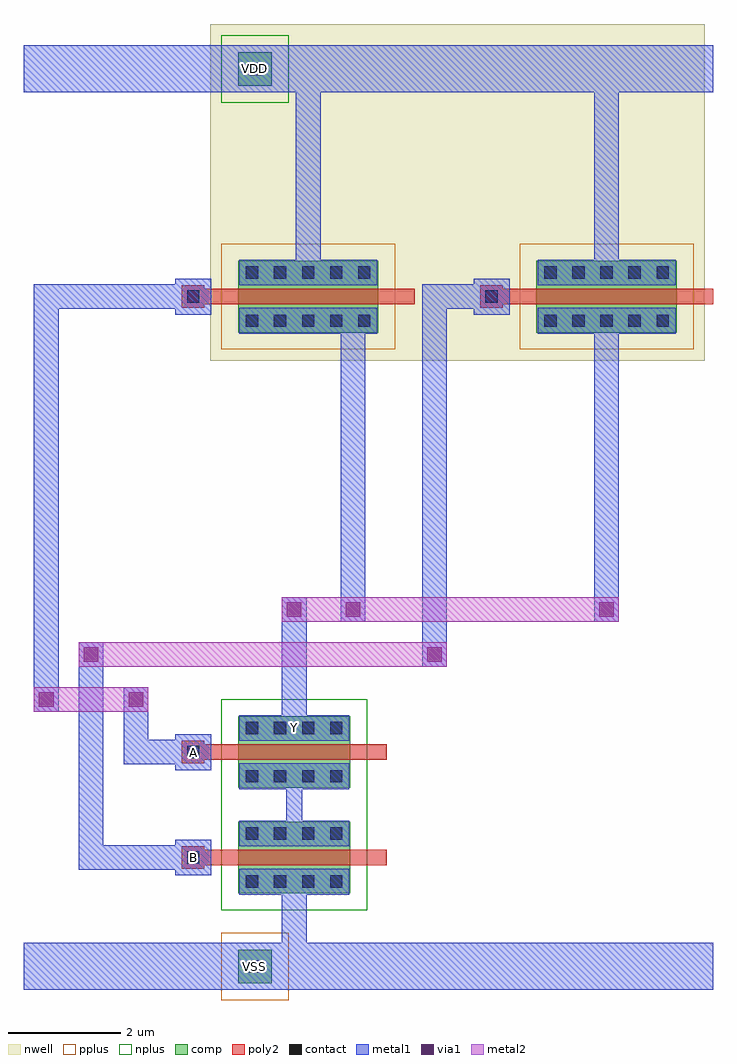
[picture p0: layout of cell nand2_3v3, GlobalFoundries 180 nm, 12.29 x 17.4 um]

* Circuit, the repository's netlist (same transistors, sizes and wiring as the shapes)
* Extracted by KLayout with GF180MCU LVS runset on : 09/09/2026 01:18

.SUBCKT nand2_3v3 VSS B A Y VDD
M$1 VDD B Y VDD pfet_03v3 L=0.28U W=2.5U AS=1.25P AD=1.25P PS=6U PD=6U
M$2 VDD A Y VDD pfet_03v3 L=0.28U W=2.5U AS=1.25P AD=1.25P PS=6U PD=6U
M$3 Y A \$4 VSS nfet_03v3 L=0.28U W=2U AS=1P AD=1P PS=5U PD=5U
M$4 \$4 B VSS VSS nfet_03v3 L=0.28U W=2U AS=1P AD=1P PS=5U PD=5U
.ENDS nand2_3v3

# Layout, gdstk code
import gdstk
lib = gdstk.Library(unit=1e-6, precision=1e-09)
def R(c, l, rs):  # rectangles x0, y0, x1, y1
    for r in rs: c.add(gdstk.rectangle(r[:2], r[2:], *l))
def A(c, l, x, y, w, h, nx, ny, dx, dy):  # array of equal rectangles
    R(c, l, [(x+i*dx, y+j*dy, x+i*dx+w, y+j*dy+h) for i in range(nx) for j in range(ny)])
nwell = (21, 0)
comp = (22, 0)
poly2 = (30, 0)
pplus = (31, 0)
nplus = (32, 0)
contact = (33, 0)
metal1 = (34, 0)
via1 = (35, 0)
metal2 = (36, 0)

nand2_3v3 = lib.new_cell('nand2_3v3')
R(nand2_3v3, nwell, [(3.32,9.5,12.14,15.5)])
R(nand2_3v3, comp, [(3.82,-1.6,4.42,-1), (3.82,0,5.82,1.28), (3.82,1.88,5.82,3.16), (3.82,10,6.32,11.28), (9.14,10,11.64,11.28), (3.82,14.4,4.42,15)])
R(nand2_3v3, poly2, [(2.82,0.44,3.22,0.84), (3.17,0.5,6.47,0.78), (2.82,2.32,3.22,2.72), (3.17,2.38,6.47,2.66), (2.82,10.44,3.22,10.84), (8.14,10.44,8.54,10.84), (3.17,10.5,6.97,10.78), (8.49,10.5,12.29,10.78)])
R(nand2_3v3, pplus, [(3.52,-1.9,4.72,-0.7), (3.52,9.7,6.62,11.58), (8.84,9.7,11.94,11.58)])
R(nand2_3v3, nplus, [(3.52,-0.3,6.12,1.58), (3.52,1.58,6.12,3.46), (3.52,14.1,4.72,15.3)])
A(nand2_3v3, contact, 3.96, 0.1, 0.22, 0.22, 4, 2, 0.5, 0.86)
A(nand2_3v3, contact, 3.96, 1.98, 0.22, 0.22, 4, 2, 0.5, 0.86)
A(nand2_3v3, contact, 3.96, 10.1, 0.22, 0.22, 5, 2, 0.5, 0.86)
A(nand2_3v3, contact, 9.28, 10.1, 0.22, 0.22, 5, 2, 0.5, 0.86)
R(nand2_3v3, contact, [(4.01,-1.41,4.23,-1.19), (2.91,0.53,3.13,0.75), (2.91,2.41,3.13,2.63), (2.91,10.53,3.13,10.75), (8.23,10.53,8.45,10.75), (4.01,14.59,4.23,14.81)])
R(nand2_3v3, metal1, [(0,-1.72,12.29,-0.88), (3.7,-1.72,4.54,-0.88), (4.6,-1.3,5.04,0.44), (3.84,-0.02,5.8,0.44), (2.7,0.32,3.34,0.96), (0.98,0.42,3.34,0.86), (0.98,0.64,1.42,4.26), (3.84,0.84,5.8,1.3), (4.68,1.3,4.96,1.86), (3.84,1.86,5.8,2.32), (2.7,2.2,3.34,2.84), (1.78,2.3,3.34,2.74), (1.78,2.52,2.22,3.46), (3.84,2.72,5.8,3.18), (4.6,2.72,5.04,5.06), (0.18,3.24,0.62,3.68), (1.78,3.24,2.22,3.68), (0.18,3.46,0.62,10.64), (0.98,4.04,1.42,4.48), (7.1,4.04,7.54,4.48), (7.1,4.26,7.54,10.64), (4.6,4.84,5.04,5.28), (5.65,4.84,6.09,5.28), (10.17,4.84,10.61,5.28), (5.65,5.06,6.09,10.44), (10.17,5.06,10.61,10.44), (3.84,9.98,6.3,10.44), (9.16,9.98,11.62,10.44), (2.7,10.32,3.34,10.96), (8.02,10.32,8.66,10.96), (0.18,10.42,3.34,10.86), (7.1,10.42,8.66,10.86), (3.84,10.84,6.3,11.3), (4.85,10.84,5.29,14.7), (9.16,10.84,11.62,11.3), (10.17,10.84,10.61,14.7), (0,14.28,12.29,15.12), (3.7,14.28,4.54,15.12)])
R(nand2_3v3, via1, [(0.27,3.33,0.53,3.59), (1.87,3.33,2.13,3.59), (1.07,4.13,1.33,4.39), (7.19,4.13,7.45,4.39), (4.69,4.93,4.95,5.19), (5.74,4.93,6,5.19), (10.26,4.93,10.52,5.19)])
R(nand2_3v3, metal2, [(0.18,3.24,0.62,3.68), (0.18,3.24,2.22,3.68), (1.78,3.24,2.22,3.68), (0.98,4.04,1.42,4.48), (0.98,4.04,7.54,4.48), (7.1,4.04,7.54,4.48), (4.6,4.84,5.04,5.28), (4.6,4.84,10.61,5.28), (5.65,4.84,6.09,5.28), (10.17,4.84,10.61,5.28)])
nand2_3v3.add(gdstk.Label('A', (3.02,2.52), layer=34, texttype=10))
nand2_3v3.add(gdstk.Label('B', (3.02,0.64), layer=34, texttype=10))
nand2_3v3.add(gdstk.Label('Y', (4.82,2.95), layer=34, texttype=10))
nand2_3v3.add(gdstk.Label('VSS', (4.12,-1.3), layer=34, texttype=10))
nand2_3v3.add(gdstk.Label('VDD', (4.12,14.7), layer=34, texttype=10))

lib.write_gds('nand2_3v3.gds')
